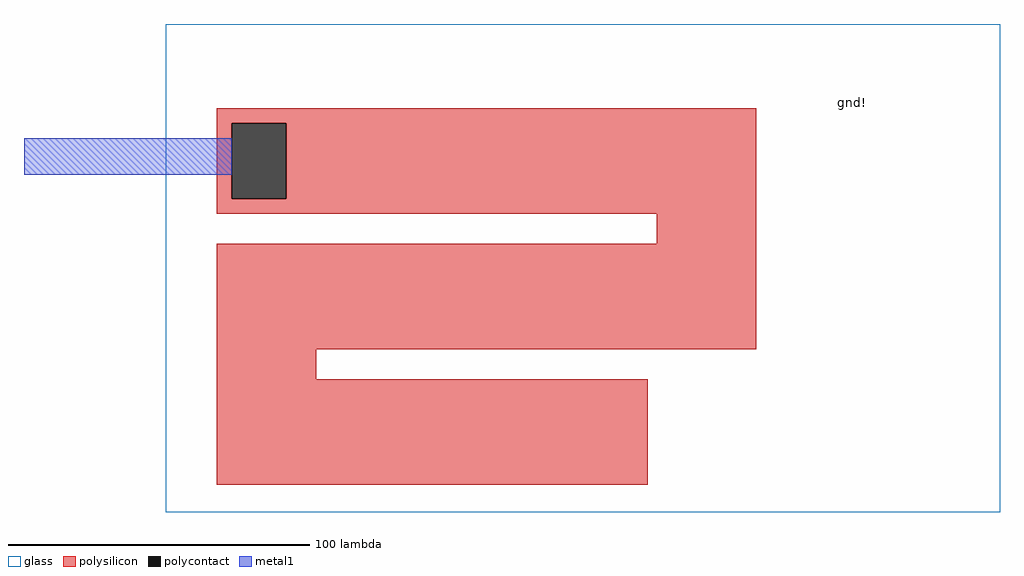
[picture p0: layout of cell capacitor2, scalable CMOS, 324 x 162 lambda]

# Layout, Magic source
magic
tech scmos
<< polysilicon >>
rect -41 117 138 122
rect -41 92 -36 117
rect -18 92 138 117
rect -41 87 138 92
rect 105 77 138 87
rect -41 42 138 77
rect -41 32 -8 42
rect -41 -3 102 32
<< polycontact >>
rect -36 92 -18 117
<< metal1 >>
rect -105 100 -36 112
<< glass >>
rect -58 -12 219 150
<< labels >>
rlabel glass 170 124 170 124 1 gnd!
<< end >>
